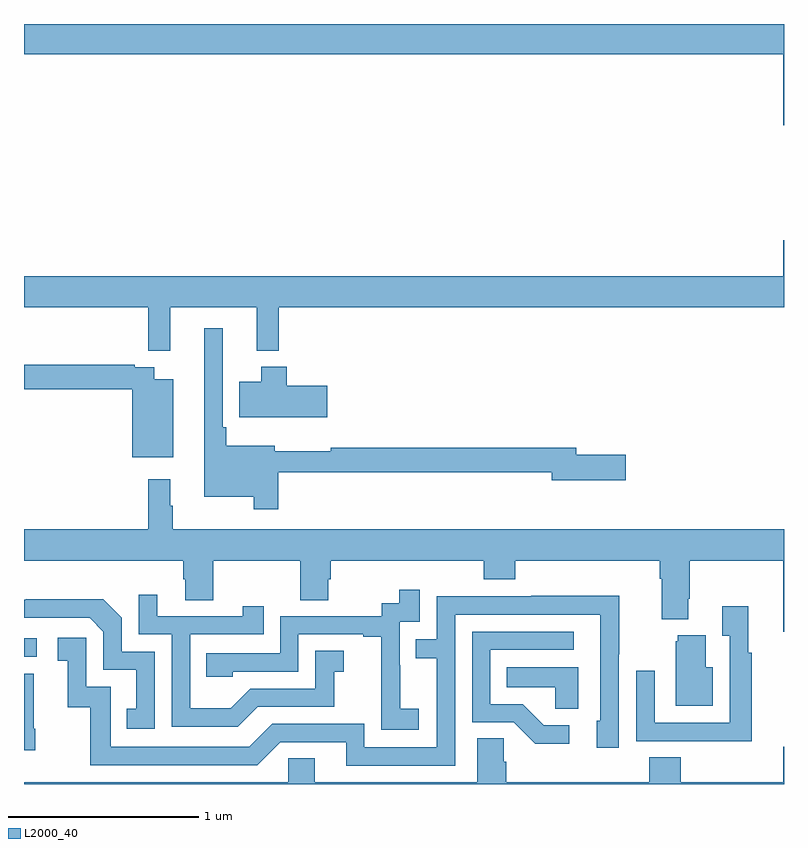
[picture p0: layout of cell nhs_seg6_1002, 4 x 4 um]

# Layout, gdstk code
import gdstk
lib = gdstk.Library(unit=1e-6, precision=1e-09)
def R(c, l, rs):  # rectangles x0, y0, x1, y1
    for r in rs: c.add(gdstk.rectangle(r[:2], r[2:], *l))
def P(c, l, *ps):  # polygons
    for p in ps: c.add(gdstk.Polygon(p, *l))
L2000_40 = (2000, 40)

nhs_seg6_1002 = lib.new_cell('nhs_seg6_1002')
R(nhs_seg6_1002, L2000_40, [(173,940.17,173.068,940.266)])
P(nhs_seg6_1002, L2000_40, [(177,943.5),(173,943.5),(173,943.34),(176.996,943.34),(176.996,942.966),(177,942.966)],
  [(173,942.008),(173.653,942.008),(173.653,941.779),(173.771,941.779),(173.771,942.008),(174.224,942.008),(174.224,941.78),(174.341,941.78),(174.341,942.008),(177,942.008),(177,942.361),(176.996,942.361),(176.996,942.172),(173,942.172)],
  [(174.338,941.142),(175.778,941.142),(175.778,941.099),(176.167,941.099),(176.167,941.234),(175.906,941.234),(175.906,941.27),(174.615,941.27),(174.615,941.251),(174.319,941.251),(174.319,941.281),(174.065,941.281),(174.065,941.377),(174.045,941.377),(174.045,941.899),(173.948,941.899),(173.948,941.012),(174.21,941.012),(174.21,940.947),(174.338,940.947)],
  [(173.785,941.629),(173.686,941.629),(173.686,941.694),(173.582,941.694),(173.582,941.707),(173,941.707),(173,941.578),(173.57,941.578),(173.57,941.219),(173.785,941.219)],
  [(174.595,941.595),(174.383,941.595),(174.383,941.695),(174.248,941.695),(174.248,941.617),(174.134,941.617),(174.134,941.429),(174.595,941.429)],
  [(177,940.84),(173.782,940.84),(173.782,940.964),(173.77,940.964),(173.77,941.104),(173.653,941.104),(173.653,940.84),(173,940.84),(173,940.676),(173.837,940.676),(173.837,940.578),(173.849,940.578),(173.849,940.468),(173.997,940.468),(173.997,940.676),(174.454,940.676),(174.454,940.468),(174.601,940.468),(174.601,940.578),(174.614,940.578),(174.614,940.676),(175.421,940.676),(175.421,940.577),(175.586,940.577),(175.586,940.676),(176.345,940.676),(176.345,940.58),(176.357,940.58),(176.357,940.367),(176.497,940.367),(176.497,940.474),(176.505,940.474),(176.505,940.676),(176.996,940.676),(176.996,940.302),(177,940.302)],
  [(175.078,939.895),(174.98,939.895),(174.98,940.124),(174.978,940.124),(174.978,940.353),(175.083,940.353),(175.083,940.522),(174.975,940.522),(174.975,940.452),(174.882,940.452),(174.882,940.383),(174.348,940.383),(174.348,940.188),(173.959,940.188),(173.959,940.065),(174.099,940.065),(174.099,940.092),(174.444,940.092),(174.444,940.287),(174.785,940.287),(174.785,940.275),(174.881,940.275),(174.881,939.991),(174.88,939.991),(174.88,939.785),(175.078,939.785)],
  [(174.229,939.906),(174.633,939.906),(174.633,940.091),(174.682,940.091),(174.682,940.201),(174.534,940.201),(174.534,940.002),(174.192,940.002),(174.088,939.898),(173.874,939.898),(173.874,940.287),(174.263,940.287),(174.263,940.435),(174.152,940.435),(174.152,940.383),(173.701,940.383),(173.701,940.495),(173.604,940.495),(173.604,940.287),(173.778,940.287),(173.778,939.801),(174.124,939.801)],
  [(175.269,940.392),(176.034,940.392),(176.034,939.834),(176.015,939.834),(176.015,939.69),(176.13,939.69),(176.13,940.183),(176.133,940.183),(176.133,940.49),(175.669,940.49),(175.669,940.488),(175.173,940.488),(175.173,940.263),(175.063,940.263),(175.063,940.162),(175.173,940.162),(175.173,939.693),(174.792,939.693),(174.792,939.816),(174.306,939.816),(174.186,939.696),(173.457,939.696),(173.457,940.011),(173.328,940.011),(173.328,940.27),(173.178,940.27),(173.178,940.149),(173.231,940.149),(173.231,939.903),(173.349,939.903),(173.349,939.6),(174.228,939.6),(174.348,939.72),(174.695,939.72),(174.695,939.597),(175.269,939.597)],
  [(173.688,940.197),(173.514,940.197),(173.514,940.374),(173.416,940.472),(173.008,940.472),(173.008,940.47),(173,940.47),(173,940.374),(173.346,940.374),(173.418,940.302),(173.418,940.101),(173.591,940.101),(173.591,939.897),(173.542,939.897),(173.542,939.792),(173.688,939.792)],
  [(176.831,940.19),(176.813,940.19),(176.813,940.435),(176.675,940.435),(176.675,940.279),(176.715,940.279),(176.715,939.822),(176.319,939.822),(176.319,940.096),(176.223,940.096),(176.223,939.726),(176.539,939.726),(176.539,939.725),(176.831,939.725)],
  [(175.87,939.81),(175.735,939.81),(175.624,939.921),(175.455,939.921),(175.455,940.206),(175.894,940.206),(175.894,940.302),(175.359,940.302),(175.359,939.825),(175.578,939.825),(175.691,939.713),(175.87,939.713)],
  [(176.626,940.114),(176.587,940.114),(176.587,940.282),(176.441,940.282),(176.441,940.251),(176.429,940.251),(176.429,939.911),(176.626,939.911)],
  [(175.918,940.114),(175.54,940.114),(175.54,940.01),(175.797,940.01),(175.797,939.895),(175.918,939.895)],
  [(173.058,939.79),(173.05,939.79),(173.05,940.081),(173,940.081),(173,939.678),(173.058,939.678)],
  [(177,939.697),(176.996,939.697),(176.996,939.508),(176.456,939.508),(176.456,939.641),(176.291,939.641),(176.291,939.508),(175.538,939.508),(175.538,939.617),(175.524,939.617),(175.524,939.74),(175.385,939.74),(175.385,939.508),(174.529,939.508),(174.529,939.635),(174.39,939.635),(174.39,939.508),(173,939.508),(173,939.5),(177,939.5)])

lib.write_gds('nhs_seg6_1002.gds')
